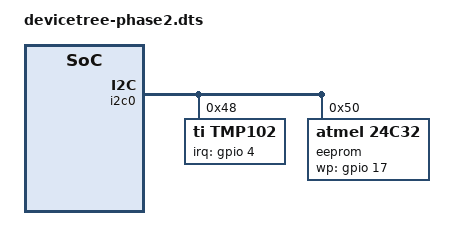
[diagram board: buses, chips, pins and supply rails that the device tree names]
/dts-v1/;

/ {
    #address-cells = <2>;
    #size-cells = <1>;

    aliases {
        i2c0 = &i2c0;
        temp-sensor = &tmp102;
        eeprom = &eeprom;
    };

    power: power-controller {
        compatible = "raspberrypi,bcm2835-power";
        #power-domain-cells = <1>;
    };

    soc {
        #address-cells = <2>;
        #size-cells = <1>;
        ranges;

        gpio: gpio@7e200000 {
            compatible = "brcm,bcm2835-gpio";
            reg = <0x0 0x7e200000 0x100>;
            gpio-controller;
            #gpio-cells = <2>;
            interrupt-controller;
            #interrupt-cells = <2>;

            i2c0_pins: i2c0 {
                brcm,pins = <2 3>;
                brcm,function = <4>;
                brcm,pull = <1>;
            };
        };

        i2c0: i2c@7e804000 {
            compatible = "brcm,bcm2835-i2c";
            reg = <0x0 0x7e804000 0x1000>;
            #address-cells = <1>;
            #size-cells = <0>;
            power-domains = <&power 1>;
            i2c-sda-hold-time-ns = <300>;
            i2c-sda-setup-time-ns = <100>;

            tmp102: tmp102@48 {
                compatible = "ti,tmp102";
                reg = <0x48>;
                interrupt-parent = <&gpio>;
                interrupts = <4 2>;
                ti,extended-mode;
            };

            eeprom: eeprom@50 {
                compatible = "atmel,24c32";
                reg = <0x50>;
                pagesize = <32>;
                wp-gpios = <&gpio 17 0>;
            };
        };
    };
};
